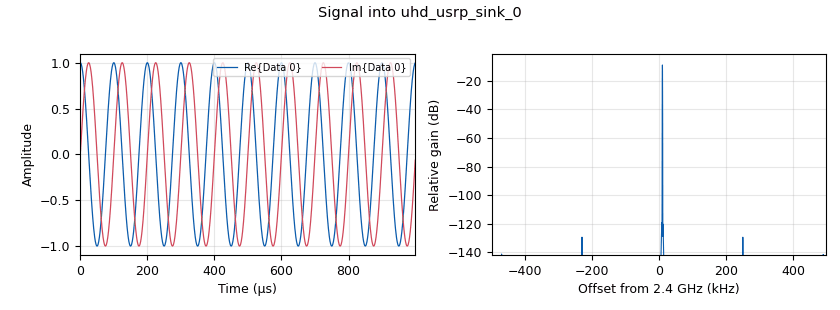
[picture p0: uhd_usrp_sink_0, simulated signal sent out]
<?xml version='1.0' encoding='utf-8'?>
<?grc format='1' created='3.7.13'?>
<flow_graph>
<block>
<key>options</key>
<param><key>id</key><value>top_block</value></param>
<param><key>generate_options</key><value>qt_gui</value></param>
</block>
<block>
<key>variable</key>
<param><key>id</key><value>samp_rate</value></param>
<param><key>value</key><value>1e6</value></param>
</block>
<block>
<key>analog_sig_source_x</key>
<param><key>id</key><value>analog_sig_source_x_0_0</value></param>
<param><key>amp</key><value>1</value></param>
<param><key>freq</key><value>10000</value></param>
<param><key>offset</key><value>0</value></param>
<param><key>type</key><value>complex</value></param>
<param><key>samp_rate</key><value>samp_rate</value></param>
<param><key>waveform</key><value>analog.GR_SIN_WAVE</value></param>
</block>
<block>
<key>blocks_file_sink</key>
<param><key>id</key><value>blocks_file_sink_0</value></param>
<param><key>_enabled</key><value>0</value></param>
<param><key>file</key><value>/media/sf_VM_Share/caroutsude1mhztoawrds</value></param>
<param><key>type</key><value>complex</value></param>
</block>
<block>
<key>blocks_head</key>
<param><key>id</key><value>blocks_head_0</value></param>
<param><key>_enabled</key><value>0</value></param>
<param><key>num_items</key><value>10000000</value></param>
<param><key>type</key><value>complex</value></param>
</block>
<block>
<key>note</key>
<param><key>id</key><value>note_0</value></param>
<param><key>note</key><value>realtime waterfall</value></param>
</block>
<block>
<key>note</key>
<param><key>id</key><value>note_1</value></param>
<param><key>note</key><value>Recording to file</value></param>
</block>
<block>
<key>note</key>
<param><key>id</key><value>note_2</value></param>
<param><key>note</key><value>Recieving signal</value></param>
</block>
<block>
<key>note</key>
<param><key>id</key><value>note_3</value></param>
<param><key>note</key><value>Signal to USRP</value></param>
</block>
<block>
<key>qtgui_freq_sink_x</key>
<param><key>id</key><value>qtgui_freq_sink_x_0</value></param>
<param><key>bw</key><value>samp_rate</value></param>
<param><key>fc</key><value>0</value></param>
<param><key>fftsize</key><value>1024</value></param>
<param><key>showports</key><value>True</value></param>
<param><key>type</key><value>complex</value></param>
<param><key>wintype</key><value>firdes.WIN_BLACKMAN_hARRIS</value></param>
</block>
<block>
<key>qtgui_sink_x</key>
<param><key>id</key><value>qtgui_sink_x_0</value></param>
<param><key>bw</key><value>3636</value></param>
<param><key>fc</key><value>0</value></param>
<param><key>freqchangevar</key><value>None</value></param>
<param><key>_enabled</key><value>0</value></param>
<param><key>fftsize</key><value>1024</value></param>
<param><key>showports</key><value>True</value></param>
<param><key>type</key><value>complex</value></param>
<param><key>rate</key><value>5</value></param>
<param><key>wintype</key><value>firdes.WIN_BLACKMAN_hARRIS</value></param>
</block>
<block>
<key>qtgui_sink_x</key>
<param><key>id</key><value>qtgui_sink_x_1</value></param>
<param><key>bw</key><value>samp_rate</value></param>
<param><key>fc</key><value>0</value></param>
<param><key>freqchangevar</key><value>None</value></param>
<param><key>_enabled</key><value>0</value></param>
<param><key>fftsize</key><value>1024</value></param>
<param><key>showports</key><value>True</value></param>
<param><key>type</key><value>complex</value></param>
<param><key>wintype</key><value>firdes.WIN_BLACKMAN_hARRIS</value></param>
</block>
<block>
<key>rational_resampler_xxx</key>
<param><key>id</key><value>rational_resampler_xxx_0</value></param>
<param><key>decim</key><value>55</value></param>
<param><key>_enabled</key><value>0</value></param>
<param><key>interp</key><value>1</value></param>
<param><key>taps</key><value></value></param>
<param><key>type</key><value>ccc</value></param>
</block>
<block>
<key>uhd_usrp_sink</key>
<param><key>id</key><value>uhd_usrp_sink_0</value></param>
<param><key>ant0</key><value></value></param>
<param><key>center_freq0</key><value>2.4e9</value></param>
<param><key>norm_gain0</key><value>False</value></param>
<param><key>gain0</key><value>10</value></param>
<param><key>clock_rate</key><value>0.0</value></param>
<param><key>dev_args</key><value>""</value></param>
<param><key>type</key><value>fc32</value></param>
<param><key>samp_rate</key><value>samp_rate</value></param>
<param><key>hide_cmd_port</key><value>False</value></param>
<param><key>hide_lo_controls</key><value>True</value></param>
<param><key>sync</key><value></value></param>
<param><key>len_tag_name</key><value></value></param>
</block>
<block>
<key>uhd_usrp_source</key>
<param><key>id</key><value>uhd_usrp_source_0</value></param>
<param><key>ant0</key><value></value></param>
<param><key>center_freq0</key><value>2.4e9</value></param>
<param><key>dc_offs_enb0</key><value>""</value></param>
<param><key>iq_imbal_enb0</key><value>""</value></param>
<param><key>norm_gain0</key><value>False</value></param>
<param><key>gain0</key><value>10</value></param>
<param><key>clock_rate</key><value>0.0</value></param>
<param><key>dev_args</key><value>""</value></param>
<param><key>type</key><value>fc32</value></param>
<param><key>samp_rate</key><value>samp_rate</value></param>
<param><key>hide_cmd_port</key><value>False</value></param>
<param><key>hide_lo_controls</key><value>True</value></param>
<param><key>sync</key><value></value></param>
</block>
<connection><source_block_id>analog_sig_source_x_0_0</source_block_id><sink_block_id>uhd_usrp_sink_0</sink_block_id><source_key>0</source_key><sink_key>0</sink_key></connection>
<connection><source_block_id>blocks_head_0</source_block_id><sink_block_id>blocks_file_sink_0</sink_block_id><source_key>0</source_key><sink_key>0</sink_key></connection>
<connection><source_block_id>blocks_head_0</source_block_id><sink_block_id>qtgui_sink_x_1</sink_block_id><source_key>0</source_key><sink_key>0</sink_key></connection>
<connection><source_block_id>rational_resampler_xxx_0</source_block_id><sink_block_id>qtgui_sink_x_0</sink_block_id><source_key>0</source_key><sink_key>0</sink_key></connection>
<connection><source_block_id>uhd_usrp_source_0</source_block_id><sink_block_id>blocks_head_0</sink_block_id><source_key>0</source_key><sink_key>0</sink_key></connection>
<connection><source_block_id>uhd_usrp_source_0</source_block_id><sink_block_id>qtgui_freq_sink_x_0</sink_block_id><source_key>0</source_key><sink_key>0</sink_key></connection>
<connection><source_block_id>uhd_usrp_source_0</source_block_id><sink_block_id>rational_resampler_xxx_0</sink_block_id><source_key>0</source_key><sink_key>0</sink_key></connection>
</flow_graph>
